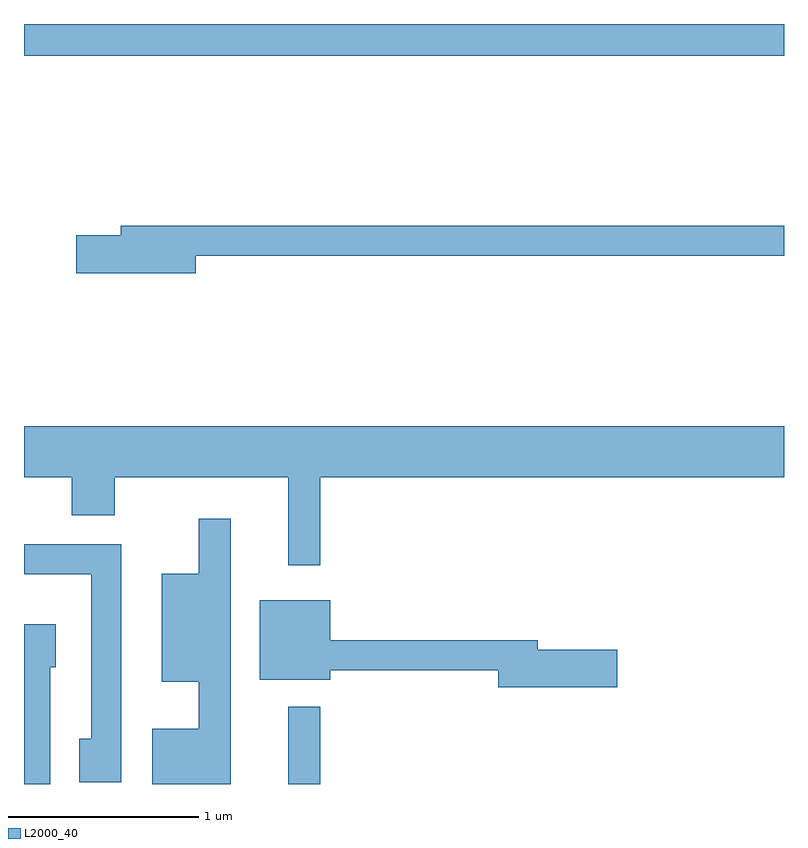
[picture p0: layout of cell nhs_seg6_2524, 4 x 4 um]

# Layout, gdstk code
import gdstk
lib = gdstk.Library(unit=1e-6, precision=1e-09)
def R(c, l, rs):  # rectangles x0, y0, x1, y1
    for r in rs: c.add(gdstk.rectangle(r[:2], r[2:], *l))
def P(c, l, *ps):  # polygons
    for p in ps: c.add(gdstk.Polygon(p, *l))
L2000_40 = (2000, 40)

nhs_seg6_2524 = lib.new_cell('nhs_seg6_2524')
R(nhs_seg6_2524, L2000_40, [(263.001,1586.162,263.169,1586.568), (261.611,1589.996,265.611,1590.162)])
P(nhs_seg6_2524, L2000_40, [(262.514,1588.941),(265.611,1588.941),(265.611,1589.099),(262.121,1589.099),(262.121,1589.049),(261.886,1589.049),(261.886,1588.851),(262.514,1588.851)],
  [(263.169,1587.776),(265.611,1587.776),(265.611,1588.044),(261.611,1588.044),(261.611,1587.776),(261.861,1587.776),(261.861,1587.576),(262.089,1587.576),(262.089,1587.776),(263.001,1587.776),(263.001,1587.313),(263.169,1587.313)],
  [(262.699,1587.558),(262.531,1587.558),(262.531,1587.269),(262.336,1587.269),(262.336,1586.701),(262.531,1586.701),(262.531,1586.454),(262.286,1586.454),(262.286,1586.162),(262.699,1586.162)],
  [(262.124,1587.424),(261.611,1587.424),(261.611,1587.266),(261.966,1587.266),(261.966,1586.399),(261.901,1586.399),(261.901,1586.171),(262.124,1586.171)],
  [(264.734,1586.869),(264.314,1586.869),(264.314,1586.919),(263.224,1586.919),(263.224,1587.129),(262.851,1587.129),(262.851,1586.711),(263.224,1586.711),(263.224,1586.761),(264.106,1586.761),(264.106,1586.671),(264.734,1586.671)],
  [(261.749,1586.776),(261.779,1586.776),(261.779,1587.004),(261.611,1587.004),(261.611,1586.162),(261.749,1586.162)])

lib.write_gds('nhs_seg6_2524.gds')
